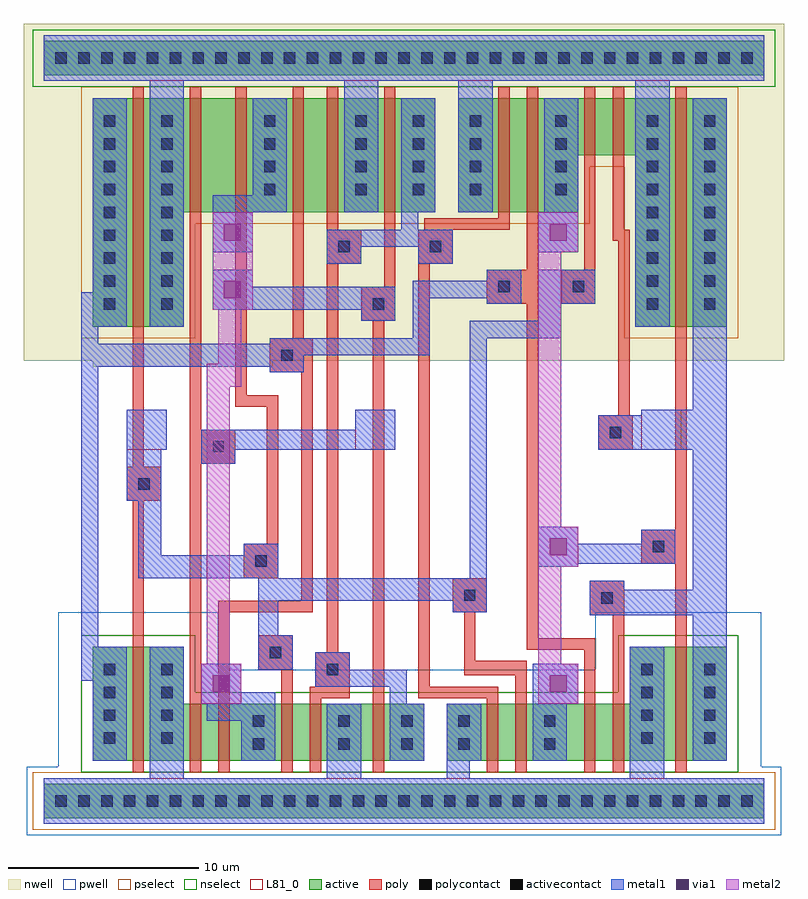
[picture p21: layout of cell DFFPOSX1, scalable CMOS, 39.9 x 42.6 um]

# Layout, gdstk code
import gdstk
lib = gdstk.Library(unit=1e-6, precision=1e-09)
def R(c, l, rs):  # rectangles x0, y0, x1, y1
    for r in rs: c.add(gdstk.rectangle(r[:2], r[2:], *l))
def A(c, l, x, y, w, h, nx, ny, dx, dy):  # array of equal rectangles
    R(c, l, [(x+i*dx, y+j*dy, x+i*dx+w, y+j*dy+h) for i in range(nx) for j in range(ny)])
pwell = (41, 0)
nwell = (42, 0)
active = (43, 0)
pselect = (44, 0)
nselect = (45, 0)
poly = (46, 0)
polycontact = (47, 0)
activecontact = (48, 0)
metal1 = (49, 0)
via1 = (50, 0)
metal2 = (51, 0)
L81_0 = (81, 0)

dffposx1 = lib.new_cell('DFFPOSX1')
R(dffposx1, pwell, [(-1.8,-1.8,37.8,1.8), (-0.15,1.8,36.75,6.9), (-0.15,6.9,8.25,9.9), (28.05,6.9,36.75,9.9)])
R(dffposx1, nwell, [(1.65,22.8,11.1,23.1), (-1.95,23.1,37.95,40.8)])
R(dffposx1, active, [(-0.9,-0.9,36.9,0.9), (1.65,2.1,19.05,5.1), (20.25,2.1,34.95,5.1), (1.65,5.1,6.45,8.1), (29.85,5.1,34.95,8.1), (1.65,24.9,6.45,30.9), (30.15,24.9,34.95,33.9), (1.65,30.9,19.65,36.9), (20.85,30.9,27.15,33.9), (20.85,33.9,34.95,36.9), (-0.9,38.1,36.9,39.9)])
R(dffposx1, pselect, [(-1.5,-1.5,37.5,1.5), (1.05,24.3,7.05,30.3), (29.55,24.3,35.55,33.3), (1.05,30.3,27.75,33.3), (1.05,33.3,35.55,37.5)])
R(dffposx1, nselect, [(1.05,1.5,35.55,5.7), (1.05,5.7,7.05,8.7), (29.25,5.7,35.55,8.7), (-1.5,37.5,37.5,40.5)])
R(dffposx1, poly, [(3.75,1.5,4.35,15.75), (6.75,1.5,7.35,17.7), (8.25,1.5,8.85,9.9), (11.55,1.5,12.15,6.9), (13.05,1.5,13.65,5.4), (16.35,1.5,16.95,25.2), (22.35,1.5,22.95,5.4), (23.85,1.5,24.45,6.6), (27.45,1.5,28.05,7.95), (28.95,1.5,29.55,9.75), (32.25,1.5,32.85,12.45), (13.05,5.4,15.15,6), (18.75,5.4,22.95,6), (13.35,6,15.15,7.8), (18.75,6,19.35,28.2), (21.15,6.6,24.45,7.35), (10.35,6.9,12.15,8.7), (21.15,7.35,21.75,9.9), (13.95,7.8,14.55,28.2), (24.45,7.95,28.05,8.55), (24.45,8.55,25.05,26.1), (27.75,9.75,29.55,11.55), (8.25,9.9,13.2,10.5), (20.55,9.9,22.35,11.7), (12.6,10.5,13.2,22.5), (9.6,11.7,11.4,13.5), (30.45,12.45,32.85,14.25), (10.8,13.5,11.4,20.7), (32.25,14.25,32.85,37.5), (3.45,15.75,5.25,17.55), (3.75,17.55,4.35,37.5), (6.75,17.7,9.15,19.5), (28.2,18.45,30,20.25), (6.75,19.5,7.35,37.5), (29.25,20.25,29.85,29.4), (9.15,20.7,11.4,21.3), (9.15,21.3,9.75,37.5), (10.95,22.5,13.2,24.3), (12.15,24.3,12.75,37.5), (15.75,25.2,17.55,27), (22.35,26.1,25.05,27.9), (26.25,26.1,28.05,27.9), (16.95,27,17.55,37.5), (24.45,27.9,25.05,37.5), (27.45,27.9,28.05,37.5), (13.95,28.2,15.75,30), (18.75,28.2,20.55,30), (28.95,29.4,29.85,30), (13.95,30,14.55,37.5), (19.05,30,23.55,30.6), (28.95,30,29.55,37.5), (22.95,30.6,23.55,37.5)])
R(dffposx1, polycontact, [(13.95,6.6,14.55,7.2), (10.95,7.5,11.55,8.1), (28.35,10.35,28.95,10.95), (21.15,10.5,21.75,11.1), (10.2,12.3,10.8,12.9), (31.05,13.05,31.65,13.65), (4.05,16.35,4.65,16.95), (7.95,18.3,8.55,18.9), (28.8,19.05,29.4,19.65), (11.55,23.1,12.15,23.7), (16.35,25.8,16.95,26.4), (22.95,26.7,23.55,27.3), (26.85,26.7,27.45,27.3), (14.55,28.8,15.15,29.4), (19.35,28.8,19.95,29.4)])
A(dffposx1, activecontact, -0.3, -0.3, 0.6, 0.6, 31, 2, 1.2, 39)
A(dffposx1, activecontact, 2.25, 3, 0.6, 0.6, 1, 4, 0, 1.2)
A(dffposx1, activecontact, 5.25, 3, 0.6, 0.6, 1, 4, 0, 1.2)
A(dffposx1, activecontact, 30.45, 3, 0.6, 0.6, 1, 4, 0, 1.2)
A(dffposx1, activecontact, 33.75, 3, 0.6, 0.6, 1, 4, 0, 1.2)
A(dffposx1, activecontact, 2.25, 25.8, 0.6, 0.6, 1, 9, 0, 1.2)
A(dffposx1, activecontact, 5.25, 25.8, 0.6, 0.6, 1, 9, 0, 1.2)
A(dffposx1, activecontact, 30.75, 25.8, 0.6, 0.6, 1, 9, 0, 1.2)
A(dffposx1, activecontact, 33.75, 25.8, 0.6, 0.6, 1, 9, 0, 1.2)
A(dffposx1, activecontact, 10.65, 31.8, 0.6, 0.6, 1, 4, 0, 1.2)
A(dffposx1, activecontact, 15.45, 31.8, 0.6, 0.6, 3, 4, 3, 1.2)
A(dffposx1, activecontact, 25.95, 31.8, 0.6, 0.6, 1, 4, 0, 1.2)
R(dffposx1, activecontact, [(10.05,2.7,10.65,3.3), (14.55,2.7,15.15,3.3), (17.85,2.7,18.45,3.3), (20.85,2.7,21.45,3.3), (25.35,2.7,25.95,3.3), (10.05,3.9,10.65,4.5), (14.55,3.9,15.15,4.5), (17.85,3.9,18.45,4.5), (20.85,3.9,21.45,4.5), (25.35,3.9,25.95,4.5)])
R(dffposx1, metal1, [(-0.9,-1.2,36.9,1.2), (4.65,1.2,6.45,8.1), (13.95,1.2,15.75,5.1), (20.25,1.2,21.45,2.1), (29.85,1.2,31.65,8.1), (1.65,2.1,3.45,6.3), (9.45,2.1,11.25,4.2), (17.25,2.1,19.05,5.1), (20.25,2.1,22.05,5.1), (24.75,2.1,26.55,5.1), (33.15,2.1,34.95,9.75), (7.65,4.2,11.25,5.1), (7.35,5.1,11.25,5.7), (17.25,5.1,18.15,6), (24.75,5.1,27.15,7.2), (7.35,5.7,9.45,7.2), (13.35,6,18.15,6.9), (1.05,6.3,3.45,8.1), (10.35,6.9,12.15,8.7), (13.35,6.9,15.15,7.8), (1.05,8.1,1.95,22.8), (10.35,8.7,11.4,10.5), (27.75,9.75,34.95,11.1), (20.55,9.9,22.35,10.5), (10.35,10.5,22.35,11.7), (27.75,11.1,29.55,11.55), (33.15,11.1,34.95,18.45), (4.05,11.7,11.4,12.9), (21.45,11.7,22.35,24.3), (25.05,12.3,27.15,12.45), (25.05,12.45,32.25,13.5), (4.05,12.9,5.25,15.75), (9.6,12.9,11.4,13.5), (25.05,13.5,27.15,14.4), (30.45,13.5,32.25,14.25), (3.45,15.75,5.25,18.45), (7.35,17.7,9.15,18.45), (3.45,18.45,5.55,20.55), (7.35,18.45,17.55,19.5), (28.2,18.45,34.95,20.25), (15.45,19.5,17.55,20.55), (30.45,20.25,34.95,20.55), (33.15,20.55,34.95,36.9), (10.95,22.5,12.75,22.8), (1.05,22.8,12.75,23.4), (1.05,23.4,19.35,24), (1.05,24,1.95,24.9), (10.95,24,19.35,24.3), (18.45,24.3,19.35,26.4), (21.45,24.3,26.25,25.2), (1.05,24.9,3.45,26.7), (4.65,24.9,6.45,37.8), (30.15,24.9,31.95,37.8), (15.75,25.2,17.55,25.8), (25.05,25.2,26.25,26.1), (7.95,25.8,17.55,27), (22.35,26.1,24.15,26.4), (25.05,26.1,28.05,27.9), (18.45,26.4,24.15,27.3), (1.65,26.7,3.45,36.9), (7.95,27,10.05,27.9), (22.35,27.3,24.15,27.9), (13.95,28.2,15.75,29.1), (18.75,28.2,20.55,29.1), (7.95,28.8,10.05,30.9), (25.05,28.8,27.15,30.9), (13.95,29.1,20.55,30), (17.85,30,18.75,30.9), (7.95,30.9,11.85,31.8), (14.85,30.9,16.65,37.8), (17.85,30.9,19.65,36.9), (20.85,30.9,22.65,37.8), (25.35,30.9,27.15,36.9), (10.05,31.8,11.85,36.9), (-0.9,37.8,36.9,40.2)])
R(dffposx1, via1, [(7.95,5.7,8.85,6.6), (25.65,5.7,26.55,6.6), (25.65,12.9,26.55,13.8), (8.55,26.4,9.45,27.3), (8.55,29.4,9.45,30.3), (25.65,29.4,26.55,30.3)])
R(dffposx1, metal2, [(7.35,5.1,9.45,7.2), (25.05,5.1,27.15,7.2), (7.65,7.2,8.85,21.75), (25.05,7.2,26.25,12.3), (25.05,12.3,27.15,14.4), (25.05,14.4,26.25,28.8), (7.65,21.75,9.45,22.95), (8.25,22.95,9.45,25.8), (7.95,25.8,10.05,30.9), (25.05,28.8,27.15,30.9)])
R(dffposx1, L81_0, [(-0.9,-1.2,36.9,1.2), (3.45,18.45,5.55,20.55), (15.45,18.45,17.55,20.55), (30.45,18.45,32.55,20.55), (-0.9,37.8,36.9,40.2)])

lib.write_gds('DFFPOSX1.gds')
